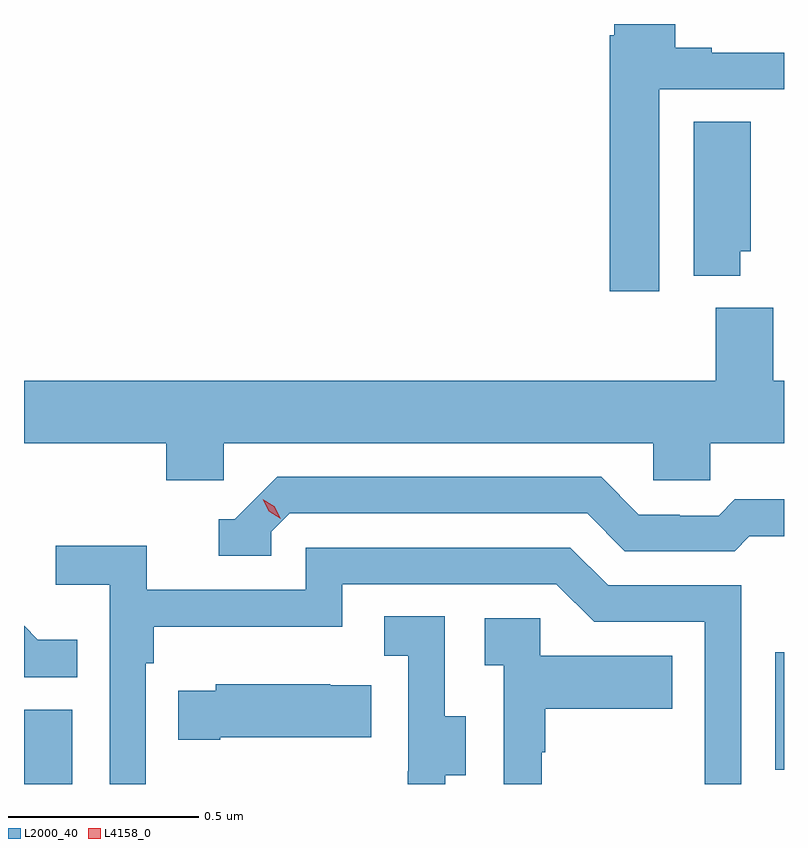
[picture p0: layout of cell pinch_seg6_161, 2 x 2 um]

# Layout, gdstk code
import gdstk
lib = gdstk.Library(unit=1e-6, precision=1e-09)
def R(c, l, rs):  # rectangles x0, y0, x1, y1
    for r in rs: c.add(gdstk.rectangle(r[:2], r[2:], *l))
def P(c, l, *ps):  # polygons
    for p in ps: c.add(gdstk.Polygon(p, *l))
L2000_40 = (2000, 40)
L4158_0 = (4158, 0)

pinch_seg6_161 = lib.new_cell('pinch_seg6_161')
R(pinch_seg6_161, L2000_40, [(1137.069,937.115,1137.196,937.311), (1139.046,937.152,1139.069,937.462)])
P(pinch_seg6_161, L2000_40, [(1138.741,938.943),(1139.069,938.943),(1139.069,939.039),(1138.879,939.039),(1138.879,939.052),(1138.783,939.052),(1138.783,939.115),(1138.622,939.115),(1138.622,939.086),(1138.61,939.086),(1138.61,938.412),(1138.741,938.412)],
  [(1138.954,938.517),(1138.981,938.517),(1138.981,938.858),(1138.832,938.858),(1138.832,938.453),(1138.954,938.453)],
  [(1137.594,938.012),(1138.725,938.012),(1138.725,937.914),(1138.875,937.914),(1138.875,938.012),(1139.069,938.012),(1139.069,938.176),(1139.041,938.176),(1139.041,938.368),(1138.889,938.368),(1138.889,938.176),(1137.069,938.176),(1137.069,938.012),(1137.443,938.012),(1137.443,937.914),(1137.594,937.914)],
  [(1137.72,937.779),(1137.768,937.827),(1138.551,937.827),(1138.65,937.728),(1138.939,937.728),(1138.978,937.767),(1139.069,937.767),(1139.069,937.864),(1138.939,937.864),(1138.897,937.821),(1138.794,937.821),(1138.794,937.824),(1138.687,937.824),(1138.588,937.923),(1137.735,937.923),(1137.624,937.812),(1137.581,937.812),(1137.581,937.716),(1137.72,937.716)],
  [(1137.39,937.433),(1137.41,937.433),(1137.41,937.529),(1137.906,937.529),(1137.906,937.641),(1138.47,937.641),(1138.569,937.542),(1138.86,937.542),(1138.86,937.115),(1138.956,937.115),(1138.956,937.638),(1138.606,937.638),(1138.507,937.737),(1137.81,937.737),(1137.81,937.626),(1137.392,937.626),(1137.392,937.742),(1137.153,937.742),(1137.153,937.64),(1137.294,937.64),(1137.294,937.115),(1137.39,937.115)],
  [(1138.177,937.138),(1138.231,937.138),(1138.231,937.293),(1138.176,937.293),(1138.176,937.556),(1138.017,937.556),(1138.017,937.453),(1138.08,937.453),(1138.08,937.149),(1138.079,937.149),(1138.079,937.115),(1138.177,937.115)],
  [(1138.431,937.199),(1138.441,937.199),(1138.441,937.313),(1138.775,937.313),(1138.775,937.453),(1138.428,937.453),(1138.428,937.551),(1138.281,937.551),(1138.281,937.427),(1138.332,937.427),(1138.332,937.115),(1138.431,937.115)],
  [(1137.209,937.495),(1137.105,937.495),(1137.069,937.531),(1137.069,937.396),(1137.209,937.396)],
  [(1137.586,937.238),(1137.983,937.238),(1137.983,937.375),(1137.875,937.375),(1137.875,937.378),(1137.573,937.378),(1137.573,937.36),(1137.475,937.36),(1137.475,937.231),(1137.586,937.231)])
P(pinch_seg6_161, L4158_0, [(1137.744,937.813),(1137.713,937.833),(1137.697,937.865),(1137.697,937.865),(1137.697,937.865),(1137.728,937.846),(1137.744,937.813),(1137.744,937.813)])

lib.write_gds('pinch_seg6_161.gds')
